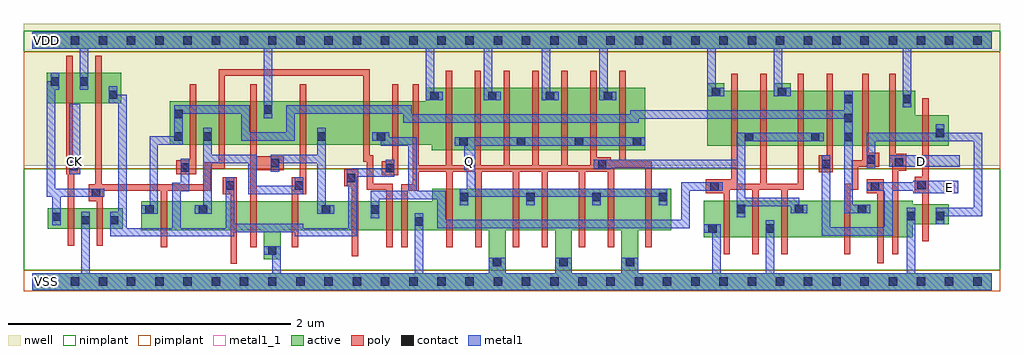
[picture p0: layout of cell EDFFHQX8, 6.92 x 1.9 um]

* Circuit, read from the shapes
.subckt EDFFHQX8 CK D E Q VDD VSS
M1 VSS CK n1 VSS nfet w=0.145u l=0.045u
M2 n2 n1 VSS VSS nfet w=0.145u l=0.045u
M3 n3 n1 n4 VSS nfet w=0.205u l=0.045u
M4 n5 n2 n3 VSS nfet w=0.205u l=0.045u
M5 VSS n6 n5 VSS nfet w=0.205u l=0.045u
M6 n6 n3 VSS VSS nfet w=0.205u l=0.045u
M7 n7 n2 n6 VSS nfet w=0.205u l=0.045u
M8 n8 n1 n7 VSS nfet w=0.205u l=0.045u
M9 VSS n9 n8 VSS nfet w=0.205u l=0.045u
M10 Q n9 VSS VSS nfet w=0.295u l=0.045u m=7
M11 n9 n7 VSS VSS nfet w=0.26u l=0.045u m=3
M12 n4 n10 n9 VSS nfet w=0.26u l=0.045u
M13 n11 E n4 VSS nfet w=0.26u l=0.045u
M14 VSS D n11 VSS nfet w=0.26u l=0.045u
M15 n10 E VSS VSS nfet w=0.145u l=0.045u
M16 VDD CK n1 VDD pfet w=0.215u l=0.045u
M17 n2 n1 VDD VDD pfet w=0.215u l=0.045u
M18 n3 n2 n4 VDD pfet w=0.31u l=0.045u
M19 n12 n1 n3 VDD pfet w=0.31u l=0.045u
M20 VDD n6 n12 VDD pfet w=0.31u l=0.045u
M21 n6 n3 VDD VDD pfet w=0.31u l=0.045u
M22 n7 n1 n6 VDD pfet w=0.31u l=0.045u
M23 n13 n2 n7 VDD pfet w=0.31u l=0.045u
M24 VDD n9 n13 VDD pfet w=0.31u l=0.045u
M25 Q n9 VDD VDD pfet w=0.445u l=0.045u m=7
M26 n9 n7 VDD VDD pfet w=0.39u l=0.045u m=3
M27 n4 E n9 VDD pfet w=0.39u l=0.045u
M28 n14 n10 n4 VDD pfet w=0.39u l=0.045u
M29 VDD D n14 VDD pfet w=0.39u l=0.045u
M30 n10 E VDD VDD pfet w=0.215u l=0.045u
.ends

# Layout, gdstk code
import gdstk
lib = gdstk.Library(unit=1e-6, precision=5e-10)
def R(c, l, rs):  # rectangles x0, y0, x1, y1
    for r in rs: c.add(gdstk.rectangle(r[:2], r[2:], *l))
def A(c, l, x, y, w, h, nx, ny, dx, dy):  # array of equal rectangles
    R(c, l, [(x+i*dx, y+j*dy, x+i*dx+w, y+j*dy+h) for i in range(nx) for j in range(ny)])
def P(c, l, *ps):  # polygons
    for p in ps: c.add(gdstk.Polygon(p, *l))
active = (1, 0)
nwell = (2, 0)
poly = (3, 0)
nimplant = (4, 0)
pimplant = (5, 0)
contact = (6, 0)
metal1 = (7, 0)
metal1_1 = (7, 1)

edffhqx8 = lib.new_cell('EDFFHQX8')
R(edffhqx8, active, [(0.11,0.375,0.64,0.52), (0.1,1.265,0.63,1.48), (0,1.65,6.8,1.77)])
P(edffhqx8, active, [(2.79,1.375),(4.345,1.375),(4.345,0.93),(2.83,0.93),(2.83,0.97),(0.975,0.97),(0.975,1.28),(2.79,1.28)],
  [(4.785,1.405),(4.905,1.405),(4.905,1.355),(5.255,1.355),(5.255,1.405),(5.375,1.405),(5.375,1.355),(6.26,1.355),(6.26,1.18),(6.495,1.18),(6.495,0.965),(4.785,0.965)],
  [(2.835,0.66),(4.53,0.66),(4.53,0.365),(4.295,0.365),(4.295,0.06),(6.8,0.06),(6.8,-0.06),(0,-0.06),(0,0.06),(3.235,0.06),(3.235,0.365),(3.355,0.365),(3.355,0.06),(3.705,0.06),(3.705,0.365),(3.825,0.365),(3.825,0.06),(4.175,0.06),(4.175,0.365),(1.76,0.365),(1.76,0.16),(1.64,0.16),(1.64,0.365),(0.77,0.365),(0.77,0.57),(2.835,0.57)],
  [(4.76,0.575),(6.24,0.575),(6.24,0.55),(6.495,0.55),(6.495,0.405),(6.24,0.405),(6.24,0.315),(4.76,0.315)])
R(edffhqx8, nwell, [(-0.06,0.82,6.86,1.83)])
P(edffhqx8, poly, [(0.445,1.6),(0.49,1.6),(0.49,0.69),(1.22,0.69),(1.22,0.845),(1.32,0.845),(1.32,1.505),(2.39,1.505),(2.39,0.895),(2.415,0.895),(2.415,0.695),(2.555,0.695),(2.555,0.245),(2.51,0.245),(2.51,0.65),(2.37,0.65),(2.37,0.85),(2.345,0.85),(2.345,1.46),(1.365,1.46),(1.365,0.8),(1.265,0.8),(1.265,0.645),(0.955,0.645),(0.955,0.245),(0.91,0.245),(0.91,0.645),(0.5,0.645),(0.5,0.255),(0.455,0.255),(0.455,0.57),(0.4,0.57),(0.4,0.69),(0.445,0.69)],
  [(0.24,1.6),(0.285,1.6),(0.285,0.88),(0.34,0.88),(0.34,0.76),(0.295,0.76),(0.295,0.255),(0.25,0.255),(0.25,0.76),(0.24,0.76)],
  [(1.115,1.4),(1.16,1.4),(1.16,0.76),(1.02,0.76),(1.02,0.86),(1.115,0.86)],
  [(1.545,1.4),(1.59,1.4),(1.59,0.89),(1.78,0.89),(1.78,0.79),(1.59,0.79),(1.59,0.245),(1.545,0.245)],
  [(1.895,1.4),(1.94,1.4),(1.94,0.62),(1.885,0.62),(1.885,0.245),(1.84,0.245),(1.84,0.74),(1.895,0.74)],
  [(2.55,1.4),(2.595,1.4),(2.595,0.755),(2.475,0.755),(2.475,0.855),(2.55,0.855)],
  [(2.695,1.4),(2.74,1.4),(2.74,0.825),(2.93,0.825),(2.93,1.495),(2.975,1.495),(2.975,0.825),(3.135,0.825),(3.135,1.495),(3.18,1.495),(3.18,0.825),(3.34,0.825),(3.34,1.495),(3.385,1.495),(3.385,0.825),(3.545,0.825),(3.545,1.495),(3.59,1.495),(3.59,0.825),(3.75,0.825),(3.75,1.495),(3.795,1.495),(3.795,0.825),(3.955,0.825),(3.955,1.495),(4,1.495),(4,0.88),(4.1,0.88),(4.1,0.855),(4.16,0.855),(4.16,1.495),(4.205,1.495),(4.205,0.855),(4.39,0.855),(4.39,0.245),(4.345,0.245),(4.345,0.81),(4.125,0.81),(4.125,0.245),(4.08,0.245),(4.08,0.78),(3.92,0.78),(3.92,0.245),(3.875,0.245),(3.875,0.78),(3.655,0.78),(3.655,0.245),(3.61,0.245),(3.61,0.78),(3.45,0.78),(3.45,0.245),(3.405,0.245),(3.405,0.78),(3.185,0.78),(3.185,0.245),(3.14,0.245),(3.14,0.78),(2.98,0.78),(2.98,0.245),(2.935,0.245),(2.935,0.78),(2.74,0.78),(2.74,0.645),(2.66,0.645),(2.66,0.245),(2.615,0.245),(2.615,0.69),(2.695,0.69)],
  [(4.955,1.475),(5,1.475),(5,0.695),(5.16,0.695),(5.16,1.475),(5.205,1.475),(5.205,0.695),(5.425,0.695),(5.425,1.475),(5.47,1.475),(5.47,0.65),(5.355,0.65),(5.355,0.195),(5.31,0.195),(5.31,0.65),(5.15,0.65),(5.15,0.195),(5.105,0.195),(5.105,0.65),(4.945,0.65),(4.945,0.195),(4.9,0.195),(4.9,0.625),(4.775,0.625),(4.775,0.725),(4.955,0.725)],
  [(5.63,1.475),(5.675,1.475),(5.675,0.775),(5.575,0.775),(5.575,0.895),(5.63,0.895)],
  [(5.885,1.475),(5.93,1.475),(5.93,0.915),(6.005,0.915),(6.005,0.815),(5.855,0.815),(5.855,0.65),(5.8,0.65),(5.8,0.195),(5.755,0.195),(5.755,0.695),(5.81,0.695),(5.81,0.86),(5.885,0.86)],
  [(6.075,1.475),(6.12,1.475),(6.12,0.905),(6.195,0.905),(6.195,0.785),(6.14,0.785),(6.14,0.195),(6.095,0.195),(6.095,0.845),(6.075,0.845)],
  [(6.31,1.3),(6.355,1.3),(6.355,0.285),(6.31,0.285),(6.31,0.625),(6.255,0.625),(6.255,0.745),(6.31,0.745)],
  [(1.35,0.74),(1.45,0.74),(1.45,0.125),(1.405,0.125),(1.405,0.62),(1.35,0.62)],
  [(2.21,0.795),(2.31,0.795),(2.31,0.18),(2.265,0.18),(2.265,0.675),(2.21,0.675)],
  [(5.915,0.725),(6.035,0.725),(6.035,0.13),(5.99,0.13),(5.99,0.625),(5.915,0.625)])
R(edffhqx8, nimplant, [(-0.06,0.08,6.86,0.8), (-0.06,1.63,6.86,1.78)])
R(edffhqx8, pimplant, [(-0.06,-0.07,6.86,0.08), (-0.06,0.8,6.86,1.63)])
A(edffhqx8, contact, 0.07, -0.03, 0.06, 0.06, 34, 2, 0.2, 1.71)
A(edffhqx8, contact, 3.265, 0.11, 0.06, 0.06, 3, 1, 0.47, 0)
A(edffhqx8, contact, 3.03, 0.57, 0.06, 0.06, 4, 1, 0.47, 0)
A(edffhqx8, contact, 3.025, 0.965, 0.06, 0.06, 4, 1, 0.41, 0)
A(edffhqx8, contact, 5.755, 0.995, 0.06, 0.06, 1, 3, 0, 0.135)
A(edffhqx8, contact, 2.82, 1.285, 0.06, 0.06, 4, 1, 0.41, 0)
R(edffhqx8, contact, [(1.67,0.19,1.73,0.25), (4.79,0.345,4.85,0.405), (5.2,0.345,5.26,0.405), (2.71,0.395,2.77,0.455), (0.345,0.405,0.405,0.465), (0.55,0.405,0.61,0.465), (0.14,0.43,0.2,0.49), (6.2,0.435,6.26,0.495), (6.405,0.435,6.465,0.495), (0.8,0.48,0.86,0.54), (1.18,0.48,1.24,0.54), (2.05,0.48,2.11,0.54), (2.4,0.48,2.46,0.54), (4.995,0.485,5.055,0.545), (5.405,0.485,5.465,0.545), (5.85,0.485,5.91,0.545), (0.42,0.6,0.48,0.66), (4.805,0.645,4.865,0.705), (5.945,0.645,6.005,0.705), (1.37,0.65,1.43,0.71), (1.86,0.65,1.92,0.71), (6.275,0.655,6.335,0.715), (2.23,0.705,2.29,0.765), (2.505,0.775,2.565,0.835), (1.05,0.78,1.11,0.84), (0.26,0.79,0.32,0.85), (4.01,0.8,4.07,0.86), (5.595,0.805,5.655,0.865), (1.69,0.81,1.75,0.87), (6.115,0.815,6.175,0.875), (5.915,0.835,5.975,0.895), (5.05,0.995,5.11,1.055), (5.52,0.995,5.58,1.055), (1.005,1,1.065,1.06), (1.21,1,1.27,1.06), (2.02,1,2.08,1.06), (2.44,1,2.5,1.06), (6.405,1.025,6.465,1.085), (1.005,1.16,1.065,1.22), (1.64,1.19,1.7,1.25), (6.17,1.265,6.23,1.325), (0.54,1.295,0.6,1.355), (4.815,1.315,4.875,1.375), (5.285,1.315,5.345,1.375), (0.13,1.39,0.19,1.45), (0.335,1.39,0.395,1.45)])
R(edffhqx8, metal1, [(0.26,0.76,0.34,1.26), (6.075,0.815,6.575,0.895)])
P(edffhqx8, metal1, [(0,1.77),(6.8,1.77),(6.8,1.65),(6.23,1.65),(6.23,1.235),(6.17,1.235),(6.17,1.65),(5.315,1.65),(5.315,1.375),(5.375,1.375),(5.375,1.315),(5.255,1.315),(5.255,1.65),(4.845,1.65),(4.845,1.375),(4.905,1.375),(4.905,1.315),(4.785,1.315),(4.785,1.65),(4.08,1.65),(4.08,1.345),(4.14,1.345),(4.14,1.285),(4.02,1.285),(4.02,1.65),(3.67,1.65),(3.67,1.345),(3.73,1.345),(3.73,1.285),(3.61,1.285),(3.61,1.65),(3.26,1.65),(3.26,1.345),(3.32,1.345),(3.32,1.285),(3.2,1.285),(3.2,1.65),(2.85,1.65),(2.85,1.345),(2.91,1.345),(2.91,1.285),(2.79,1.285),(2.79,1.65),(1.7,1.65),(1.7,1.16),(1.64,1.16),(1.64,1.65),(0.395,1.65),(0.395,1.36),(0.335,1.36),(0.335,1.65),(0,1.65)],
  [(0.13,1.48),(0.19,1.48),(0.19,1.36),(0.16,1.36),(0.16,0.66),(0.51,0.66),(0.51,0.6),(0.2,0.6),(0.2,0.4),(0.14,0.4),(0.14,0.6),(0.1,0.6),(0.1,1.42),(0.13,1.42)],
  [(1.005,1.25),(1.54,1.25),(1.54,1.06),(1.8,1.06),(1.8,1.25),(2.69,1.25),(2.69,1.185),(4.24,1.185),(4.24,1.215),(5.755,1.215),(5.755,1.355),(5.815,1.355),(5.815,0.545),(5.94,0.545),(5.94,0.485),(5.755,0.485),(5.755,1.155),(4.3,1.155),(4.3,1.125),(2.63,1.125),(2.63,1.19),(1.86,1.19),(1.86,1),(1.48,1),(1.48,1.19),(1.065,1.19),(1.065,0.97),(0.89,0.97),(0.89,0.48),(0.77,0.48),(0.77,0.54),(0.83,0.54),(0.83,1.03),(1.005,1.03)],
  [(0.54,1.385),(0.6,1.385),(0.6,1.325),(0.67,1.325),(0.67,0.38),(0.99,0.38),(0.99,0.7),(1.05,0.7),(1.05,0.87),(1.11,0.87),(1.11,0.64),(1.05,0.64),(1.05,0.38),(1.37,0.38),(1.37,0.74),(1.43,0.74),(1.43,0.41),(1.92,0.41),(1.92,0.38),(2.24,0.38),(2.24,0.675),(2.23,0.675),(2.23,0.795),(2.26,0.795),(2.26,0.805),(2.505,0.805),(2.505,0.865),(2.565,0.865),(2.565,0.745),(2.3,0.745),(2.3,0.32),(1.86,0.32),(1.86,0.35),(1.43,0.35),(1.43,0.32),(0.55,0.32),(0.55,0.495),(0.61,0.495),(0.61,1.265),(0.54,1.265)],
  [(1.21,1.09),(1.27,1.09),(1.27,0.9),(1.59,0.9),(1.59,0.68),(1.86,0.68),(1.86,0.74),(1.92,0.74),(1.92,0.62),(1.53,0.62),(1.53,0.84),(1.27,0.84),(1.27,0.48),(1.15,0.48),(1.15,0.54),(1.21,0.54)],
  [(2.02,1.09),(2.08,1.09),(2.08,0.54),(2.14,0.54),(2.14,0.48),(2.02,0.48),(2.02,0.84),(1.75,0.84),(1.75,0.78),(1.69,0.78),(1.69,0.9),(2.02,0.9)],
  [(2.41,1.06),(2.53,1.06),(2.53,1.025),(2.725,1.025),(2.725,0.645),(2.93,0.645),(2.93,0.44),(4.6,0.44),(4.6,0.705),(4.895,0.705),(4.895,0.645),(4.66,0.645),(4.66,0.38),(2.87,0.38),(2.87,0.585),(2.46,0.585),(2.46,0.45),(2.4,0.45),(2.4,0.645),(2.665,0.645),(2.665,0.965),(2.47,0.965),(2.47,1),(2.41,1)],
  [(4.995,1.055),(5.61,1.055),(5.61,0.995),(5.055,0.995),(5.055,0.595),(5.435,0.595),(5.435,0.545),(5.495,0.545),(5.495,0.485),(5.375,0.485),(5.375,0.535),(5.055,0.535),(5.055,0.455),(4.995,0.455),(4.995,0.805),(4.1,0.805),(4.1,0.8),(3.98,0.8),(3.98,0.865),(4.995,0.865)],
  [(6.405,1.115),(6.465,1.115),(6.465,1.055),(6.735,1.055),(6.735,0.465),(6.465,0.465),(6.465,0.405),(6.405,0.405),(6.405,0.525),(6.675,0.525),(6.675,0.995),(5.975,0.995),(5.975,0.805),(5.915,0.805),(5.915,1.055),(6.405,1.055)],
  [(0.345,0.495),(0.405,0.495),(0.405,0.06),(1.7,0.06),(1.7,0.19),(1.64,0.19),(1.64,0.25),(1.76,0.25),(1.76,0.06),(2.71,0.06),(2.71,0.485),(2.77,0.485),(2.77,0.06),(3.235,0.06),(3.235,0.17),(3.355,0.17),(3.355,0.06),(3.705,0.06),(3.705,0.17),(3.825,0.17),(3.825,0.06),(4.175,0.06),(4.175,0.17),(4.295,0.17),(4.295,0.06),(4.82,0.06),(4.82,0.345),(4.76,0.345),(4.76,0.405),(4.88,0.405),(4.88,0.06),(5.2,0.06),(5.2,0.435),(5.26,0.435),(5.26,0.06),(6.2,0.06),(6.2,0.525),(6.26,0.525),(6.26,0.06),(6.8,0.06),(6.8,-0.06),(0,-0.06),(0,0.06),(0.345,0.06)],
  [(2.995,1.025),(4.345,1.025),(4.345,0.965),(3.14,0.965),(3.14,0.66),(4.5,0.66),(4.5,0.54),(4.44,0.54),(4.44,0.6),(4.03,0.6),(4.03,0.54),(3.97,0.54),(3.97,0.6),(3.56,0.6),(3.56,0.54),(3.5,0.54),(3.5,0.6),(3.09,0.6),(3.09,0.54),(3.03,0.54),(3.03,0.66),(3.08,0.66),(3.08,0.79),(3.06,0.79),(3.06,0.965),(2.995,0.965)],
  [(5.595,0.895),(5.655,0.895),(5.655,0.385),(6.04,0.385),(6.04,0.645),(5.915,0.645),(5.915,0.705),(6.245,0.705),(6.245,0.715),(6.565,0.715),(6.565,0.625),(6.245,0.625),(6.245,0.645),(6.1,0.645),(6.1,0.325),(5.595,0.325)])
R(edffhqx8, metal1_1, [(0.06,-0.04,0.14,0.04), (6.46,0.625,6.54,0.705), (0.26,0.815,0.34,0.895), (3.06,0.815,3.14,0.895), (6.26,0.815,6.34,0.895), (0.06,1.67,0.14,1.75)])
edffhqx8.add(gdstk.Label('Q', (3.1,0.855), layer=7, texttype=1))
edffhqx8.add(gdstk.Label('E', (6.5,0.665), layer=7, texttype=1))
edffhqx8.add(gdstk.Label('D', (6.3,0.855), layer=7, texttype=1))
edffhqx8.add(gdstk.Label('CK', (0.3,0.855), layer=7, texttype=1))
edffhqx8.add(gdstk.Label('VDD', (0.1,1.71), layer=7, texttype=1))
edffhqx8.add(gdstk.Label('VSS', (0.1,0), layer=7, texttype=1))
edffhqx8.add(gdstk.Label('EDFFHQX8', (0,0), layer=63, texttype=0))

lib.write_gds('EDFFHQX8.gds')
